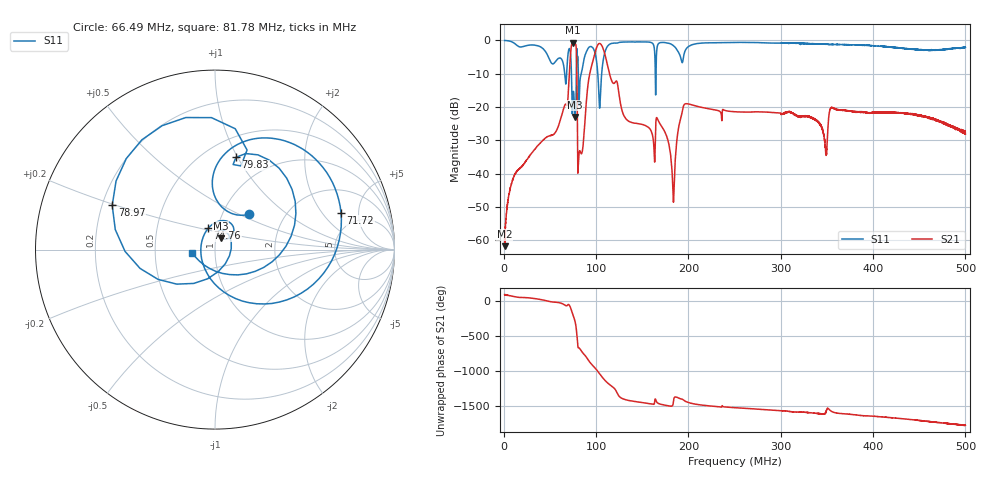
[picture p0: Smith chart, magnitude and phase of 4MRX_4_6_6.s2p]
! NanoVNA-App
! Date: 2026-08-19 14:49:11
! Start: 1MHz Stop: 500MHz Points: 6401
! S-Parameter data: F S11 S21 S12 S22
# Hz S RI R 50
!  Frequency  S11_Real  S11_Imag  S21_Real  S21_Imag  S12_Real  S12_Imag  S22_Real  S22_Imag
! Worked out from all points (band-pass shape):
!   6401 points, 1 MHz to 500 MHz, reference 50 ohm
!   highest |S21| = -0.72 dB at 74.6 MHz (marker M1); lowest = -61.7 dB at 1 MHz (marker M2)
!   |S21| within 3 dB of the highest: 72.54 MHz to 78.75 MHz (6.212 MHz wide, 8.21 % of centre); 98.85 MHz to 109.2 MHz (10.32 MHz wide, 9.92 % of centre)
!   lowest |S11| = -22.9 dB at 76.94 MHz (marker M3), VSWR 1.15, Z = 53 + j6.74 ohm
!   |S11| at or under -10 dB: 73.38 MHz to 78.61 MHz (5.236 MHz wide, 6.89 % of centre); 80.86 MHz to 83.96 MHz (3.105 MHz wide, 3.77 % of centre); 101.9 MHz to 106.1 MHz (4.183 MHz wide, 4.02 % of centre)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
!   S12 and S22 are empty: the file has one direction only
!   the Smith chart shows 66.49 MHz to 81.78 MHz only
!   S11 on the Smith chart (normalised r, x): 66.49 MHz: 1.33, +0.57; 71.72 MHz: 3.55, +3.14; 74.76 MHz: 0.90, +0.22; 78.97 MHz: 0.24, +0.19; 79.83 MHz: 0.69, +0.99; 81.78 MHz: 0.78, -0.03
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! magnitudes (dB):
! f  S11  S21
! 1 MHz  0.0  -61.7
! 11.76 MHz  -0.9  -40.4
! 66.49 MHz  -11.2  -19.3
! 71.72 MHz  -2.7  -7.1
! 74.6 MHz  -19.6  -0.7
! 74.76 MHz  -18.1  -0.7
! 76.94 MHz  -22.9  -0.8
! 78.97 MHz  -4.1  -6.3
! 79.83 MHz  -5.6  -27.4
! 81.78 MHz  -17.9  -33.6
! 84.19 MHz  -9.8  -34.0
! 95.42 MHz  -1.9  -7.4
! 103.5 MHz  -18.5  -0.9
! 112.2 MHz  -1.8  -7.1
! 132.3 MHz  -0.5  -23.5
! 167.4 MHz  -1.0  -24.0
! 183.5 MHz  -1.5  -47.2
! 196.5 MHz  -3.1  -19.0
! 250.5 MHz  -0.6  -21.4
! 333.7 MHz  -1.0  -23.3
! 416.9 MHz  -2.0  -21.7
! 500 MHz  -2.1  -28.1
